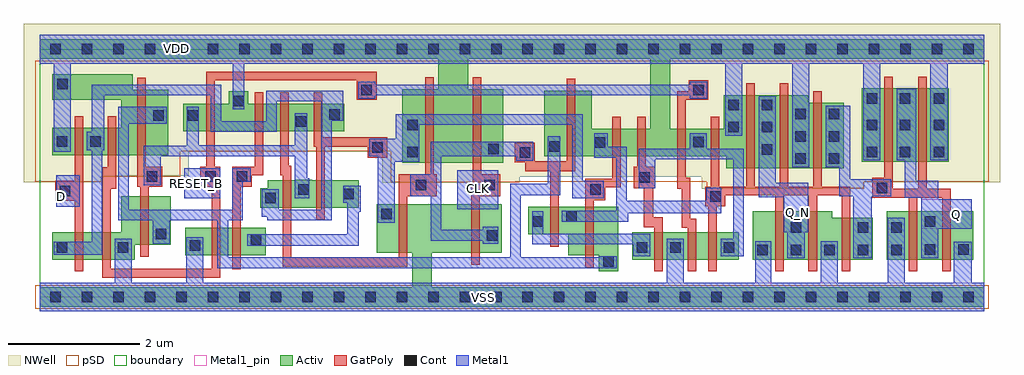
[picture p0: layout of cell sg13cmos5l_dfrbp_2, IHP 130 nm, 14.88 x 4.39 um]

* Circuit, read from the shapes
.subckt sg13cmos5l_dfrbp_2 CLK D Q Q_N RESET_B VDD VSS
XM1 n1 D n2 VSS sg13_lv_nmos w=0.42u l=0.13u
XM2 VSS RESET_B n1 VSS sg13_lv_nmos w=0.42u l=0.13u
XM3 n3 n4 VSS VSS sg13_lv_nmos w=0.74u l=0.13u
XM4 n5 RESET_B VSS VSS sg13_lv_nmos w=0.42u l=0.13u
XM5 n6 n3 n5 VSS sg13_lv_nmos w=0.42u l=0.13u
XM6 n4 n7 n2 VSS sg13_lv_nmos w=0.42u l=0.13u
XM7 n6 n8 n4 VSS sg13_lv_nmos w=0.42u l=0.13u
XM8 VSS n7 n8 VSS sg13_lv_nmos w=0.74u l=0.13u
XM9 n7 CLK VSS VSS sg13_lv_nmos w=0.74u l=0.13u
XM10 n9 n7 n10 VSS sg13_lv_nmos w=0.42u l=0.13u
XM11 n3 n8 n9 VSS sg13_lv_nmos w=0.74u l=0.13u
XM12 VSS n11 n10 VSS sg13_lv_nmos w=0.42u l=0.13u
XM13 n12 RESET_B VSS VSS sg13_lv_nmos w=0.42u l=0.13u
XM14 n11 n9 n12 VSS sg13_lv_nmos w=0.42u l=0.13u
XM15 Q_N n9 VSS VSS sg13_lv_nmos w=0.74u l=0.13u m=2
XM16 n13 n9 VSS VSS sg13_lv_nmos w=0.64u l=0.13u
XM17 Q n13 VSS VSS sg13_lv_nmos w=0.74u l=0.13u m=2
XM18 n2 D VDD VDD sg13_lv_pmos w=0.42u l=0.13u
XM19 VDD RESET_B n2 VDD sg13_lv_pmos w=0.42u l=0.13u
XM20 n3 n4 VDD VDD sg13_lv_pmos w=1u l=0.13u
XM21 VDD RESET_B n4 VDD sg13_lv_pmos w=0.42u l=0.13u
XM22 n14 n3 VDD VDD sg13_lv_pmos w=0.42u l=0.13u
XM23 n4 n7 n14 VDD sg13_lv_pmos w=0.42u l=0.13u
XM24 n2 n8 n4 VDD sg13_lv_pmos w=0.42u l=0.13u
XM25 VDD n7 n8 VDD sg13_lv_pmos w=1.12u l=0.13u
XM26 n7 CLK VDD VDD sg13_lv_pmos w=1.12u l=0.13u
XM27 n9 n7 n3 VDD sg13_lv_pmos w=1u l=0.13u
XM28 n15 n8 n9 VDD sg13_lv_pmos w=0.42u l=0.13u
XM29 VDD n11 n15 VDD sg13_lv_pmos w=0.42u l=0.13u
XM30 n11 RESET_B VDD VDD sg13_lv_pmos w=0.42u l=0.13u
XM31 VDD n9 n11 VDD sg13_lv_pmos w=0.42u l=0.13u
XM32 Q_N n9 VDD VDD sg13_lv_pmos w=1.12u l=0.13u m=2
XM33 n13 n9 VDD VDD sg13_lv_pmos w=1u l=0.13u
XM34 Q n13 VDD VDD sg13_lv_pmos w=1.12u l=0.13u m=2
.ends

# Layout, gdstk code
import gdstk
lib = gdstk.Library(unit=1e-6, precision=1e-09)
def R(c, l, rs):  # rectangles x0, y0, x1, y1
    for r in rs: c.add(gdstk.rectangle(r[:2], r[2:], *l))
def A(c, l, x, y, w, h, nx, ny, dx, dy):  # array of equal rectangles
    R(c, l, [(x+i*dx, y+j*dy, x+i*dx+w, y+j*dy+h) for i in range(nx) for j in range(ny)])
def P(c, l, *ps):  # polygons
    for p in ps: c.add(gdstk.Polygon(p, *l))
Activ = (1, 0)
GatPoly = (5, 0)
Cont = (6, 0)
Metal1 = (8, 0)
Metal1_pin = (8, 2)
pSD = (14, 0)
NWell = (31, 0)
boundary = (189, 4)

sg13cmos5l_dfrbp_2 = lib.new_cell('sg13cmos5l_dfrbp_2')
R(sg13cmos5l_dfrbp_2, Activ, [(0,-0.15,14.4,0.15), (9.03,0.57,10.66,0.99), (12.91,0.57,14.23,1.31), (2.215,0.635,3.445,1.055), (12.535,2.06,13.86,3.18)])
P(sg13cmos5l_dfrbp_2, Activ, [(10.47,1.96),(10.47,2.145),(7.695,2.145),(7.695,3.145),(8.415,3.145),(8.415,2.565),(9.31,2.565),(9.31,3.63),(0,3.63),(0,3.93),(14.4,3.93),(14.4,3.63),(9.61,3.63),(9.61,2.565),(10.43,2.565),(10.43,3.08),(11.715,3.08),(11.715,2.96),(12.26,2.96),(12.26,1.96)],
  [(10.87,0.57),(10.87,1.31),(12.08,1.31),(12.08,1.21),(12.7,1.21),(12.7,0.57)],
  [(8.52,0.39),(8.52,0.635),(8.06,0.635),(8.06,0.955),(7.445,0.955),(7.445,1.375),(8.82,1.375),(8.82,0.39)],
  [(5.53,2.05),(5.53,3.17),(6.075,3.17),(6.075,3.63),(6.53,3.63),(6.53,3.17),(7.07,3.17),(7.07,2.05)],
  [(5.68,0.15),(5.68,0.675),(5.135,0.675),(5.135,1.415),(7.045,1.415),(7.045,0.675),(5.98,0.675),(5.98,0.15)],
  [(3.365,1.36),(3.365,1.66),(3.475,1.66),(3.475,1.78),(3.905,1.78),(3.905,1.79),(4.145,1.79),(4.145,1.78),(4.86,1.78),(4.86,1.36)],
  [(2.19,2.525),(2.19,2.945),(2.88,2.945),(2.88,3.14),(3.18,3.14),(3.18,2.945),(4.645,2.945),(4.645,2.525)],
  [(0.19,0.57),(0.19,0.99),(1.245,0.99),(1.245,1.535),(2,1.535),(2,0.795),(1.445,0.795),(1.445,0.57)],
  [(0.19,2.16),(0.19,2.58),(1.24,2.58),(1.24,3.01),(0.19,3.01),(0.19,3.395),(1.415,3.395),(1.415,3.16),(1.96,3.16),(1.96,2.16)])
P(sg13cmos5l_dfrbp_2, GatPoly, [(9.88,0.39),(9.88,1.06),(9.785,1.06),(9.785,1.65),(9.72,1.65),(9.72,3.14),(9.895,3.14),(9.895,3.305),(10.195,3.305),(10.195,3.005),(9.85,3.005),(9.85,1.815),(9.915,1.815),(9.915,1.195),(10.01,1.195),(10.01,0.39)],
  [(8.32,0.445),(8.32,1.805),(8.73,1.805),(8.73,2.745),(8.86,2.745),(8.86,1.675),(8.62,1.675),(8.62,1.475),(8.45,1.475),(8.45,0.445)],
  [(13.25,0.39),(13.25,1.515),(12.69,1.515),(12.69,1.815),(12.875,1.815),(12.875,3.36),(13.005,3.36),(13.005,1.65),(13.39,1.65),(13.39,3.36),(13.52,3.36),(13.52,1.65),(13.89,1.65),(13.89,0.39),(13.76,0.39),(13.76,1.515),(13.38,1.515),(13.38,0.39)],
  [(9.37,0.39),(9.37,1.065),(9.205,1.065),(9.205,1.655),(9.055,1.655),(9.055,1.985),(9.11,1.985),(9.11,2.745),(9.24,2.745),(9.24,1.985),(9.385,1.985),(9.385,1.655),(9.355,1.655),(9.355,1.215),(9.5,1.215),(9.5,0.39)],
  [(7.785,0.765),(7.785,1.92),(7.4,1.92),(7.4,2.055),(7.245,2.055),(7.245,2.355),(7.545,2.355),(7.545,2.07),(8.035,2.07),(8.035,3.325),(8.165,3.325),(8.165,1.92),(7.915,1.92),(7.915,0.765)],
  [(10.19,0.39),(10.19,1.385),(10.15,1.385),(10.15,1.685),(10.23,1.685),(10.23,2.745),(10.36,2.745),(10.36,1.685),(10.77,1.685),(10.77,3.26),(10.9,3.26),(10.9,1.685),(11.28,1.685),(11.28,3.26),(11.41,3.26),(11.41,1.685),(11.79,1.685),(11.79,3.14),(11.92,3.14),(11.92,1.685),(12.36,1.685),(12.36,0.39),(12.23,0.39),(12.23,1.555),(11.85,1.555),(11.85,0.39),(11.72,0.39),(11.72,1.555),(11.34,1.555),(11.34,0.39),(11.21,0.39),(11.21,1.555),(10.45,1.555),(10.45,1.385),(10.32,1.385),(10.32,0.39)],
  [(6.575,0.495),(6.575,1.69),(6.6,1.69),(6.6,3.35),(6.73,3.35),(6.73,1.87),(7.02,1.87),(7.02,1.54),(6.705,1.54),(6.705,0.495)],
  [(3.705,0.465),(3.705,1.855),(3.665,1.855),(3.665,3.125),(3.795,3.125),(3.795,2.005),(3.835,2.005),(3.835,0.605),(5.475,0.605),(5.475,1.87),(5.875,1.87),(5.875,3.35),(6.005,3.35),(6.005,1.87),(6.05,1.87),(6.05,1.54),(5.605,1.54),(5.605,0.465)],
  [(4.215,1.18),(4.215,2.29),(4.175,2.29),(4.175,3.125),(4.305,3.125),(4.305,2.44),(5.3,2.44),(5.3,2.125),(5,2.125),(5,2.29),(4.345,2.29),(4.345,1.18)],
  [(2.935,0.425),(2.935,1.985),(3.275,1.985),(3.275,3.125),(3.405,3.125),(3.405,1.855),(3.235,1.855),(3.235,1.685),(3.065,1.685),(3.065,0.425)],
  [(0.95,0.295),(0.95,1.98),(1.04,1.98),(1.04,2.76),(1.17,2.76),(1.17,1.65),(1.08,1.65),(1.08,0.43),(2.62,0.43),(2.62,1.685),(2.45,1.685),(2.45,1.985),(2.54,1.985),(2.54,3.435),(5.135,3.435),(5.135,3.005),(4.835,3.005),(4.835,3.305),(2.67,3.305),(2.67,1.985),(2.75,1.985),(2.75,0.295)],
  [(1.53,0.615),(1.53,1.685),(1.49,1.685),(1.49,3.34),(1.62,3.34),(1.62,1.985),(1.865,1.985),(1.865,1.685),(1.66,1.685),(1.66,0.615)],
  [(0.53,0.39),(0.53,1.47),(0.235,1.47),(0.235,1.77),(0.53,1.77),(0.53,2.76),(0.66,2.76),(0.66,0.39)])
A(sg13cmos5l_dfrbp_2, Cont, 0.16, -0.08, 0.16, 0.16, 30, 2, 0.48, 3.78)
A(sg13cmos5l_dfrbp_2, Cont, 10.94, 0.64, 0.16, 0.16, 5, 1, 0.51, 0)
A(sg13cmos5l_dfrbp_2, Cont, 11.52, 2.03, 0.16, 0.16, 1, 3, 0, 0.34)
A(sg13cmos5l_dfrbp_2, Cont, 12.03, 2.03, 0.16, 0.16, 1, 3, 0, 0.34)
A(sg13cmos5l_dfrbp_2, Cont, 12.605, 2.135, 0.16, 0.16, 1, 3, 0, 0.405)
A(sg13cmos5l_dfrbp_2, Cont, 13.115, 2.135, 0.16, 0.16, 1, 3, 0, 0.405)
A(sg13cmos5l_dfrbp_2, Cont, 13.63, 2.135, 0.16, 0.16, 1, 3, 0, 0.405)
A(sg13cmos5l_dfrbp_2, Cont, 11.01, 2.17, 0.16, 0.16, 1, 3, 0, 0.34)
R(sg13cmos5l_dfrbp_2, Cont, [(8.59,0.46,8.75,0.62), (13.49,0.645,13.65,0.805), (14,0.645,14.16,0.805), (0.26,0.675,0.42,0.835), (1.19,0.675,1.35,0.835), (9.1,0.675,9.26,0.835), (9.61,0.675,9.77,0.835), (10.43,0.675,10.59,0.835), (2.285,0.705,2.445,0.865), (3.215,0.795,3.375,0.955), (6.815,0.86,6.975,1.02), (1.77,0.88,1.93,1.04), (11.45,0.98,11.61,1.14), (12.47,0.98,12.63,1.14), (12.98,0.98,13.14,1.14), (13.49,1.07,13.65,1.23), (7.515,1.075,7.675,1.235), (8.025,1.145,8.185,1.305), (5.205,1.185,5.365,1.345), (3.435,1.43,3.595,1.59), (10.22,1.455,10.38,1.615), (4.63,1.49,4.79,1.65), (0.305,1.54,0.465,1.7), (3.945,1.56,4.105,1.72), (8.39,1.56,8.55,1.72), (12.76,1.585,12.92,1.745), (5.735,1.625,5.895,1.785), (6.775,1.625,6.935,1.785), (9.14,1.74,9.3,1.9), (1.635,1.755,1.795,1.915), (2.52,1.755,2.68,1.915), (3.005,1.755,3.165,1.915), (7.315,2.125,7.475,2.285), (5.6,2.135,5.76,2.295), (6.84,2.175,7,2.335), (5.07,2.2,5.23,2.36), (7.765,2.215,7.925,2.375), (8.46,2.275,8.62,2.435), (9.96,2.285,10.12,2.445), (0.26,2.29,0.42,2.45), (0.77,2.295,0.93,2.455), (10.5,2.51,10.66,2.67), (5.6,2.54,5.76,2.7), (3.905,2.595,4.065,2.755), (1.73,2.69,1.89,2.85), (2.26,2.69,2.42,2.85), (4.415,2.705,4.575,2.865), (10.5,2.85,10.66,3.01), (2.95,2.91,3.11,3.07), (4.905,3.075,5.065,3.235), (9.965,3.075,10.125,3.235), (0.265,3.165,0.425,3.325)])
R(sg13cmos5l_dfrbp_2, Metal1, [(6.365,1.335,6.99,1.935), (0.255,1.375,0.61,1.855), (2.2,1.51,2.75,1.965)])
P(sg13cmos5l_dfrbp_2, Metal1, [(13.44,0.595),(13.44,1.515),(13.19,1.515),(13.19,2.085),(13.065,2.085),(13.065,3.175),(13.36,3.175),(13.36,1.775),(13.7,1.775),(13.7,1.49),(14.21,1.49),(14.21,1.045),(13.7,1.045),(13.7,0.595)],
  [(0.21,0.645),(0.21,0.84),(0.79,0.84),(0.79,2.24),(0.72,2.24),(0.72,2.52),(0.79,2.52),(0.79,3.24),(2.765,3.24),(2.765,2.68),(3.455,2.68),(3.455,3.145),(4.625,3.145),(4.625,2.685),(4.45,2.685),(4.45,1.17),(3.465,1.17),(3.465,1.225),(3.385,1.225),(3.385,1.64),(3.645,1.64),(3.645,1.33),(4.29,1.33),(4.29,2.985),(3.615,2.985),(3.615,2.52),(2.605,2.52),(2.605,3.08),(0.98,3.08),(0.98,2.24),(0.95,2.24),(0.95,0.645)],
  [(4.855,3.025),(4.855,3.285),(5.115,3.285),(5.115,3.235),(9.91,3.235),(9.91,3.285),(10.18,3.285),(10.18,3.025),(9.91,3.025),(9.91,3.075),(5.115,3.075),(5.115,3.025)],
  [(6.755,0.81),(6.755,0.855),(5.965,0.855),(5.965,1.54),(5.65,1.54),(5.65,1.87),(5.965,1.87),(5.965,2.37),(7.525,2.37),(7.525,2.075),(7.265,2.075),(7.265,2.145),(6.125,2.145),(6.125,1.025),(6.755,1.025),(6.755,1.07),(6.99,1.07),(6.99,0.81)],
  [(0,-0.22),(0,0.22),(1.14,0.22),(1.14,0.885),(1.4,0.885),(1.4,0.22),(2.235,0.22),(2.235,0.915),(2.495,0.915),(2.495,0.22),(9.56,0.22),(9.56,0.885),(9.82,0.885),(9.82,0.22),(10.91,0.22),(10.91,0.85),(11.15,0.85),(11.15,0.22),(11.91,0.22),(11.91,0.85),(12.17,0.85),(12.17,0.22),(12.93,0.22),(12.93,1.21),(13.19,1.21),(13.19,0.22),(13.935,0.22),(13.935,0.84),(14.21,0.84),(14.21,0.22),(14.4,0.22),(14.4,-0.22)],
  [(2.705,0.44),(2.705,1.17),(1.98,1.17),(1.98,0.815),(1.72,0.815),(1.72,1.17),(1.2,1.17),(1.2,2.9),(1.94,2.9),(1.94,2.64),(1.36,2.64),(1.36,1.33),(2.935,1.33),(2.935,1.965),(3.215,1.965),(3.215,1.755),(3.095,1.755),(3.095,1.17),(2.875,1.17),(2.875,0.605),(7.17,0.605),(7.17,1.725),(7.745,1.725),(7.745,2.45),(7.935,2.45),(7.935,1.555),(7.33,1.555),(7.33,0.605),(8.54,0.605),(8.54,0.625),(8.8,0.625),(8.8,0.44)],
  [(11.47,1.98),(11.47,3.56),(10.71,3.56),(10.71,2.46),(10.45,2.46),(10.45,3.56),(3.115,3.56),(3.115,2.86),(2.945,2.86),(2.945,3.56),(0.47,3.56),(0.47,2.215),(0.215,2.215),(0.215,3.56),(0,3.56),(0,4),(14.4,4),(14.4,3.56),(13.84,3.56),(13.84,2.085),(13.58,2.085),(13.58,3.56),(12.815,3.56),(12.815,2.085),(12.555,2.085),(12.555,3.56),(11.73,3.56),(11.73,1.98)],
  [(12.4,0.59),(12.4,1.535),(12.19,1.535),(12.19,1.98),(11.98,1.98),(11.98,2.92),(12.36,2.92),(12.36,1.795),(12.985,1.795),(12.985,1.535),(12.685,1.535),(12.685,0.59)],
  [(11.395,0.59),(11.395,0.99),(11.34,0.99),(11.34,1.52),(10.96,1.52),(10.96,3.06),(11.22,3.06),(11.22,1.74),(11.72,1.74),(11.72,0.99),(11.66,0.99),(11.66,0.59)],
  [(10.38,0.625),(10.38,0.885),(10.57,0.885),(10.57,2.1),(9.385,2.1),(9.385,1.655),(9.13,1.655),(9.13,2.26),(9.91,2.26),(9.91,2.495),(10.17,2.495),(10.17,2.26),(10.73,2.26),(10.73,0.625)],
  [(7.96,1.145),(7.96,1.315),(8.79,1.315),(8.79,2.125),(8.455,2.125),(8.455,2.5),(8.66,2.5),(8.66,2.295),(8.95,2.295),(8.95,1.465),(10.165,1.465),(10.165,1.665),(10.39,1.665),(10.39,1.275),(8.97,1.275),(8.97,1.145)],
  [(9.05,0.625),(9.05,0.805),(7.51,0.805),(7.51,1.31),(7.68,1.31),(7.68,0.965),(9.31,0.965),(9.31,0.625)],
  [(5.155,1.135),(5.155,2.15),(5.02,2.15),(5.02,2.41),(5.425,2.41),(5.425,2.79),(8.275,2.79),(8.275,1.77),(8.6,1.77),(8.6,1.51),(8.115,1.51),(8.115,2.63),(5.785,2.63),(5.785,2.06),(5.415,2.06),(5.415,1.135)],
  [(3.165,0.785),(3.165,0.96),(4.685,0.96),(4.685,1.44),(4.63,1.44),(4.63,1.7),(4.895,1.7),(4.895,1.3),(4.865,1.3),(4.865,0.785)],
  [(3.89,1.51),(3.89,2.145),(1.845,2.145),(1.845,1.705),(1.585,1.705),(1.585,2.305),(2.245,2.305),(2.245,2.9),(2.425,2.9),(2.425,2.315),(3.89,2.315),(3.89,2.805),(4.075,2.805),(4.075,1.81),(4.11,1.81),(4.11,1.51)])
R(sg13cmos5l_dfrbp_2, Metal1_pin, [(0,-0.22,14.4,0.22), (11.34,0.99,11.72,1.74), (13.44,1.045,14.21,1.49), (6.365,1.335,6.99,1.935), (0.255,1.375,0.61,1.855), (2.2,1.51,2.75,1.965), (0,3.56,14.4,4)])
R(sg13cmos5l_dfrbp_2, pSD, [(-0.07,-0.18,14.47,0.18)])
P(sg13cmos5l_dfrbp_2, pSD, [(10.17,1.66),(10.17,1.76),(7.245,1.76),(7.245,1.75),(5.35,1.75),(5.35,2.225),(2.14,2.225),(2.14,1.835),(0.945,1.835),(0.945,1.76),(-0.07,1.76),(-0.07,3.6),(14.47,3.6),(14.47,1.76),(12.56,1.76),(12.56,1.66)])
P(sg13cmos5l_dfrbp_2, NWell, [(10.095,1.65),(10.095,1.835),(7.315,1.835),(7.315,1.74),(5.22,1.74),(5.22,2.215),(2.27,2.215),(2.27,1.85),(0.935,1.85),(0.935,1.75),(-0.24,1.75),(-0.24,4.17),(14.64,4.17),(14.64,1.75),(12.57,1.75),(12.57,1.65)])
R(sg13cmos5l_dfrbp_2, boundary, [(0,0,14.4,3.78)])
sg13cmos5l_dfrbp_2.add(gdstk.Label('CLK', (6.69,1.655), layer=8, texttype=25))
sg13cmos5l_dfrbp_2.add(gdstk.Label('VSS', (6.77,0), layer=8, texttype=25))
sg13cmos5l_dfrbp_2.add(gdstk.Label('D', (0.325,1.53), layer=8, texttype=25))
sg13cmos5l_dfrbp_2.add(gdstk.Label('Q_N', (11.56,1.295), layer=8, texttype=25))
sg13cmos5l_dfrbp_2.add(gdstk.Label('Q', (13.98,1.265), layer=8, texttype=25))
sg13cmos5l_dfrbp_2.add(gdstk.Label('VDD', (2.085,3.79), layer=8, texttype=25))
sg13cmos5l_dfrbp_2.add(gdstk.Label('RESET_B', (2.385,1.73), layer=8, texttype=25))

lib.write_gds('sg13cmos5l_dfrbp_2.gds')
